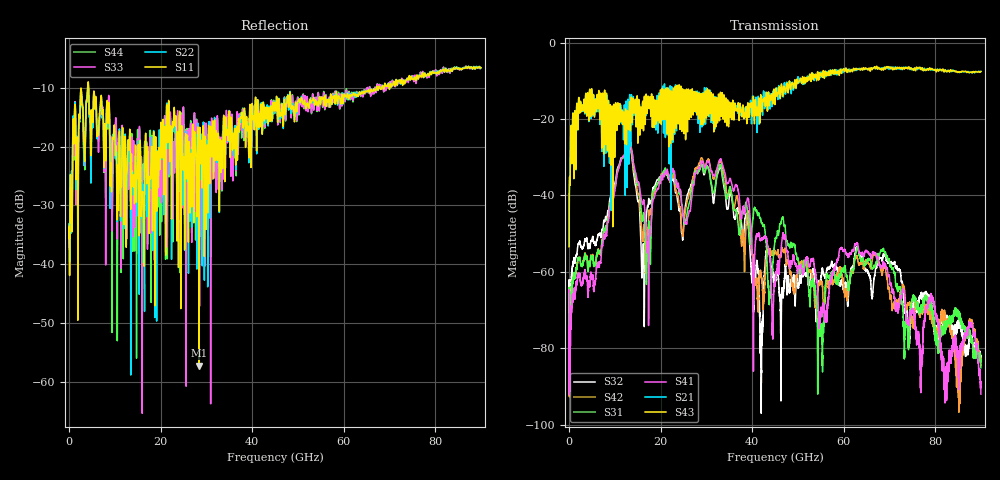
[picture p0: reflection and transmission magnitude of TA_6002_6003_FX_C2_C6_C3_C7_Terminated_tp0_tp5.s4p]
!Touchstone File created by Channel Assembly Engine (Version 2.0.0_Beta1)
!Current time:  2022 6/29 11:40:30
# Hz S RI R 50
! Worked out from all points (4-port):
!   9000 points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, 10 MHz to 90 GHz, reference 50 ohm
!   strongest paths, dB at 10 MHz, 22.51 GHz, 45.01 GHz, 67.51 GHz, 90 GHz:
!     S43: -53.4, -15.7, -15.8, -6.9, -7.5
!     S21: -53.1, -12.4, -12.5, -6.8, -7.5
!     S41: -65.3, -33.9, -63.6, -56.1, -92.0
!     S31: -74.9, -34.0, -51.9, -55.3, -85.1
!     S42: -77.0, -35.4, -54.7, -55.7, -84.5
!     S32: -78.7, -35.9, -61.8, -56.1, -83.3
!   lowest |S11| = -57.3 dB at 28.35 GHz (marker M1), VSWR 1.00, Z = 50.1 - j0.0232 ohm
!   |S11| at or under -10 dB: start of sweep to 4.048 GHz; 4.274 GHz to 67.14 GHz (62.87 GHz wide, 176 % of centre); 67.95 GHz to 68.31 GHz (363.2 MHz wide, 0.533 % of centre)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
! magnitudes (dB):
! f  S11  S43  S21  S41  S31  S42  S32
! 10 MHz  -33.8  -53.4  -53.1  -65.3  -74.9  -77.0  -78.7
! 11.69 GHz  -16.7  -20.8  -17.6  -30.0  -30.2  -30.0  -30.1
! 16.17 GHz  -29.0  -17.2  -16.8  -42.0  -45.8  -51.0  -53.4
! 28.35 GHz  -57.3  -19.6  -13.6  -32.9  -33.6  -31.8  -33.1
! 42.04 GHz  -13.2  -16.2  -14.5  -51.4  -47.1  -61.5  -86.7
! 62.96 GHz  -11.1  -7.0  -6.8  -52.4  -53.8  -56.1  -53.6
! 90 GHz  -6.6  -7.5  -7.5  -92.0  -85.1  -84.5  -83.3
